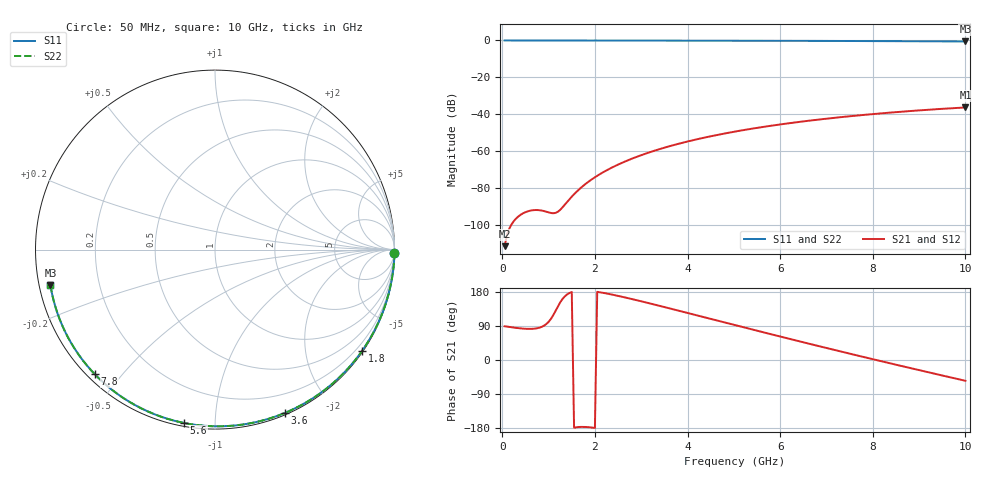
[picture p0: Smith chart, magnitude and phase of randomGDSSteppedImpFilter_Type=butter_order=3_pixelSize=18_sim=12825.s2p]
! freq	dB(S11)	phase(S11)	dB(S12)	phase(S12)
!  dB(S21)	phase(S21)	dB(S22)	phase(S22)
!S-par simulation data
#  GHz  S  DB  R 50
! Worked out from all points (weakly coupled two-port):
!   200 points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, 50 MHz to 10 GHz, reference 50 ohm
!   highest |S21| = -36.26 dB at 10 GHz (marker M1); lowest = -111.3 dB at 50 MHz (marker M2)
!   lowest |S11| = -0.6 dB at 10 GHz (marker M3), VSWR 31.26, Z = 1.62 - j5.35 ohm
!   |S11| at or under -10 dB: nowhere
!   |S22| runs from -0.6 to 0.0 dB; largest |S21 - S12| = 0
!   S11 on the Smith chart (normalised r, x): 50 MHz: open; 1.8 GHz: 0.03, -3.23; 3.6 GHz: 0.02, -1.51; 5.6 GHz: 0.02, -0.84; 7.8 GHz: 0.02, -0.43; 10 GHz: 0.03, -0.11
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0.05  -0.00 -1.0  -111.33 89.1  -111.33 89.1  -0.00 -1.0
0.45  -0.01 -8.8  -93.53 82.8  -93.53 82.8  -0.01 -8.8
0.85  -0.02 -16.5  -92.05 87.4  -92.05 87.4  -0.02 -16.5
1.65  -0.04 -31.6  -80.78 -176.9  -80.78 -176.9  -0.04 -31.6
1.7  -0.04 -32.6  -79.67 -176.6  -79.67 -176.6  -0.04 -32.6
1.75  -0.04 -33.5  -78.61 -176.5  -78.61 -176.5  -0.04 -33.5
1.8  -0.04 -34.4  -77.61 -176.7  -77.61 -176.7  -0.04 -34.4
2.1  -0.05 -40.0  -72.46 178.9  -72.46 178.9  -0.05 -40.0
2.3  -0.06 -43.7  -69.65 174.4  -69.65 174.4  -0.06 -43.7
2.5  -0.06 -47.4  -67.18 169.2  -67.18 169.2  -0.06 -47.4
2.9  -0.07 -54.6  -63.00 157.9  -63.00 157.9  -0.07 -54.6
3.4  -0.08 -63.4  -58.78 142.8  -58.78 142.8  -0.08 -63.4
3.6  -0.09 -66.9  -57.31 136.6  -57.31 136.6  -0.09 -66.9
4.3  -0.11 -78.9  -52.94 114.8  -52.94 114.8  -0.11 -78.9
5.05  -0.14 -91.2  -49.20 91.3  -49.20 91.3  -0.14 -91.2
5.6  -0.16 -100.1  -46.92 74.3  -46.92 74.3  -0.16 -100.1
6.15  -0.19 -108.7  -44.94 57.4  -44.94 57.4  -0.19 -108.7
6.7  -0.23 -117.2  -43.20 40.7  -43.20 40.7  -0.23 -117.2
7.8  -0.31 -133.9  -40.30 8.0  -40.30 8.0  -0.31 -133.9
8.35  -0.36 -142.3  -39.10 -8.1  -39.10 -8.1  -0.36 -142.3
9.2  -0.45 -155.2  -37.50 -32.4  -37.50 -32.4  -0.45 -155.2
10  -0.56 -167.8  -36.26 -54.9  -36.26 -54.9  -0.56 -167.8
